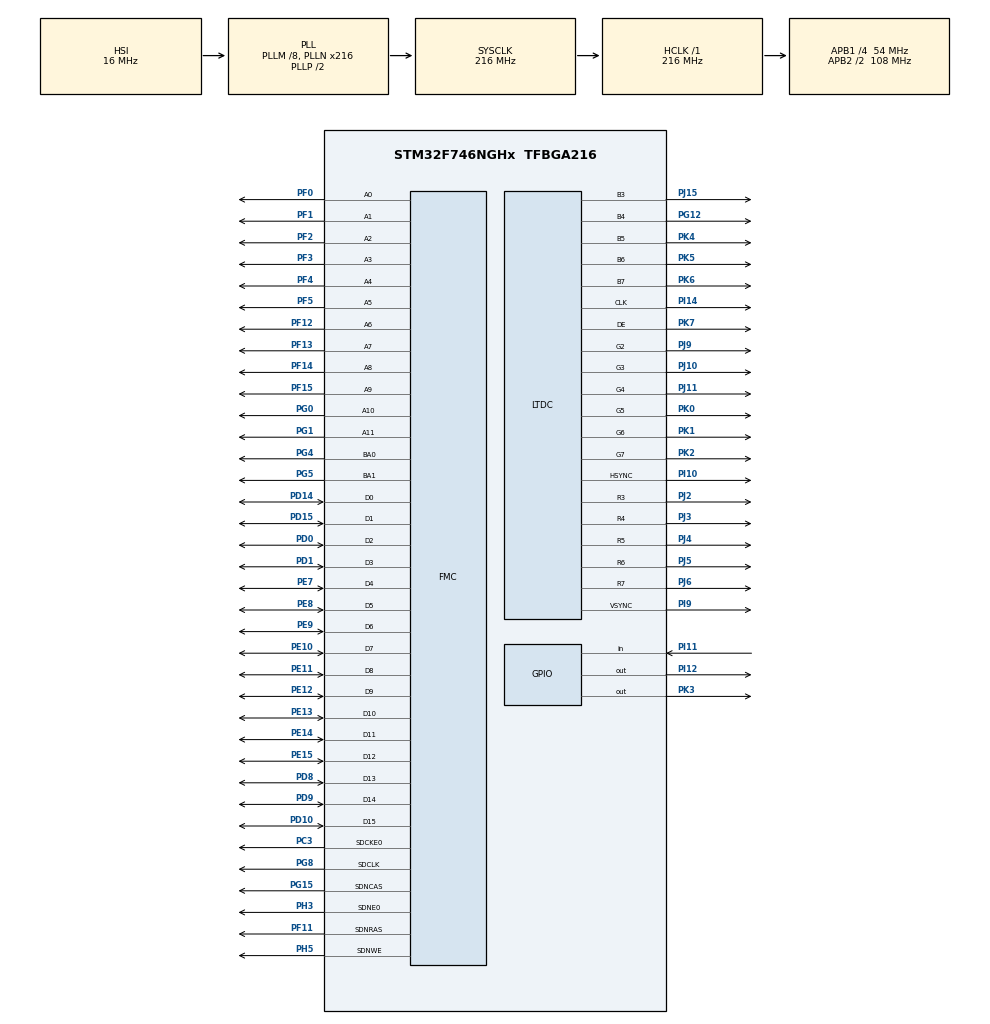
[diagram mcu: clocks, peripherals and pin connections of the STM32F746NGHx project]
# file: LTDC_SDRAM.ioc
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FMC.CASLatency1=FMC_SDRAM_CAS_LATENCY_3
FMC.ExitSelfRefreshDelay1=8
FMC.LoadToActiveDelay1=2
FMC.RCDDelay1=2
FMC.RPDelay1=2
FMC.ReadBurst1=FMC_SDRAM_RBURST_ENABLE
FMC.RowCycleDelay1=7
FMC.SDClockPeriod1=FMC_SDRAM_CLOCK_PERIOD_2
FMC.SelfRefreshTime1=5
FMC.WriteRecoveryTime1=3
LTDC.ActiveH=272
LTDC.ActiveW=480
LTDC.Alpha_L0=255
LTDC.HBP=13
LTDC.HFP=32
LTDC.HSync=41
LTDC.ImageHeight_L0=272
LTDC.ImageWidth_L0=480
LTDC.Layers=0
LTDC.PixelFormat_L0=LTDC_PIXEL_FORMAT_RGB565
LTDC.VSync=10
LTDC.WindowX1_L0=480
LTDC.WindowY1_L0=272
Mcu.Family=STM32F7
Mcu.Name=STM32F746NGHx
Mcu.Package=TFBGA216
NVIC.PriorityGroup=NVIC_PRIORITYGROUP_4
PA13.Mode=Serial_Wire
PA13.Signal=SYS_JTMS-SWDIO
PA14.Mode=Serial_Wire
PA14.Signal=SYS_JTCK-SWCLK
PC3.Mode=SdramChipSelect1_1
PC3.Signal=FMC_SDCKE0
PD0.Signal=FMC_D2_DA2
PD1.Signal=FMC_D3_DA3
PD10.Signal=FMC_D15_DA15
PD14.Signal=FMC_D0_DA0
PD15.Signal=FMC_D1_DA1
PD8.Signal=FMC_D13_DA13
PD9.Signal=FMC_D14_DA14
PE10.Signal=FMC_D7_DA7
PE11.Signal=FMC_D8_DA8
PE12.Signal=FMC_D9_DA9
PE13.Signal=FMC_D10_DA10
PE14.Signal=FMC_D11_DA11
PE15.Signal=FMC_D12_DA12
PE7.Signal=FMC_D4_DA4
PE8.Signal=FMC_D5_DA5
PE9.Signal=FMC_D6_DA6
PF0.Signal=FMC_A0
PF1.Signal=FMC_A1
PF11.Signal=FMC_SDNRAS
PF12.Signal=FMC_A6
PF13.Signal=FMC_A7
PF14.Signal=FMC_A8
PF15.Signal=FMC_A9
PF2.Signal=FMC_A2
PF3.Signal=FMC_A3
PF4.Signal=FMC_A4
PF5.Signal=FMC_A5
PG0.Signal=FMC_A10
PG1.Signal=FMC_A11
PG12.Mode=RGB565
PG12.Signal=LTDC_B4
PG15.Signal=FMC_SDNCAS
PG4.Signal=FMC_A14_BA0
PG5.Signal=FMC_A15_BA1
PG8.Signal=FMC_SDCLK
PH0/OSC_IN.Mode=HSE-External-Oscillator
PH0/OSC_IN.Signal=RCC_OSC_IN
PH1/OSC_OUT.Mode=HSE-External-Oscillator
PH1/OSC_OUT.Signal=RCC_OSC_OUT
PH3.Mode=SdramChipSelect1_1
PH3.Signal=FMC_SDNE0
PH5.Signal=FMC_SDNWE
PI10.Mode=RGB565
PI10.Signal=LTDC_HSYNC
PI11.GPIO_PuPd=GPIO_NOPULL
PI11.Signal=GPIO_Input
PI12.Signal=GPIO_Output
PI14.Mode=RGB565
PI14.Signal=LTDC_CLK
PI9.Mode=RGB565
PI9.Signal=LTDC_VSYNC
PJ10.Mode=RGB565
PJ10.Signal=LTDC_G3
PJ11.Mode=RGB565
PJ11.Signal=LTDC_G4
PJ15.Mode=RGB565
PJ15.Signal=LTDC_B3
PJ2.Mode=RGB565
PJ2.Signal=LTDC_R3
PJ3.Mode=RGB565
PJ3.Signal=LTDC_R4
PJ4.Mode=RGB565
PJ4.Signal=LTDC_R5
PJ5.Mode=RGB565
PJ5.Signal=LTDC_R6
PJ6.Mode=RGB565
PJ6.Signal=LTDC_R7
PJ9.Mode=RGB565
PJ9.Signal=LTDC_G2
PK0.Mode=RGB565
PK0.Signal=LTDC_G5
PK1.Mode=RGB565
PK1.Signal=LTDC_G6
PK2.Mode=RGB565
PK2.Signal=LTDC_G7
PK3.Signal=GPIO_Output
PK4.Mode=RGB565
PK4.Signal=LTDC_B5
PK5.Mode=RGB565
PK5.Signal=LTDC_B6
PK6.Mode=RGB565
PK6.Signal=LTDC_B7
PK7.Mode=RGB565
PK7.Signal=LTDC_DE
ProjectManager.HeapSize=0x200
ProjectManager.StackSize=0x400
ProjectManager.TargetToolchain=TrueSTUDIO
RCC.AHBFreq_Value=216000000
RCC.APB1CLKDivider=RCC_HCLK_DIV4
RCC.APB1Freq_Value=54000000
RCC.APB1TimFreq_Value=108000000
RCC.APB2CLKDivider=RCC_HCLK_DIV2
RCC.APB2Freq_Value=108000000
RCC.APB2TimFreq_Value=216000000
RCC.CortexFreq_Value=216000000
RCC.HCLKFreq_Value=216000000
RCC.HSE_VALUE=25000000
RCC.HSI_VALUE=16000000
RCC.LSE_VALUE=32768
RCC.PLLM=8
RCC.PLLN=216
RCC.PLLSAIN=96
RCC.PLLSAIR=5
RCC.PLLSAIRDiv=RCC_PLLSAIDIVR_4
RCC.SYSCLKFreq_VALUE=216000000
RCC.SYSCLKSource=RCC_SYSCLKSOURCE_PLLCLK
RCC.USBFreq_Value=216000000
RCC.VCOOutputFreq_Value=432000000
SH.FMC_A0.0=FMC_A0,12b-sda1
SH.FMC_A1.0=FMC_A1,12b-sda1
SH.FMC_A10.0=FMC_A10,12b-sda1
SH.FMC_A11.0=FMC_A11,12b-sda1
SH.FMC_A14_BA0.0=FMC_BA0,FourSdramBanks1
SH.FMC_A15_BA1.0=FMC_BA1,FourSdramBanks1
SH.FMC_A2.0=FMC_A2,12b-sda1
SH.FMC_A3.0=FMC_A3,12b-sda1
SH.FMC_A4.0=FMC_A4,12b-sda1
SH.FMC_A5.0=FMC_A5,12b-sda1
SH.FMC_A6.0=FMC_A6,12b-sda1
SH.FMC_A7.0=FMC_A7,12b-sda1
SH.FMC_A8.0=FMC_A8,12b-sda1
SH.FMC_A9.0=FMC_A9,12b-sda1
SH.FMC_D0_DA0.0=FMC_D0,sd-16b-d1
SH.FMC_D10_DA10.0=FMC_D10,sd-16b-d1
SH.FMC_D11_DA11.0=FMC_D11,sd-16b-d1
SH.FMC_D12_DA12.0=FMC_D12,sd-16b-d1
SH.FMC_D13_DA13.0=FMC_D13,sd-16b-d1
SH.FMC_D14_DA14.0=FMC_D14,sd-16b-d1
SH.FMC_D15_DA15.0=FMC_D15,sd-16b-d1
SH.FMC_D1_DA1.0=FMC_D1,sd-16b-d1
SH.FMC_D2_DA2.0=FMC_D2,sd-16b-d1
SH.FMC_D3_DA3.0=FMC_D3,sd-16b-d1
SH.FMC_D4_DA4.0=FMC_D4,sd-16b-d1
SH.FMC_D5_DA5.0=FMC_D5,sd-16b-d1
SH.FMC_D6_DA6.0=FMC_D6,sd-16b-d1
SH.FMC_D7_DA7.0=FMC_D7,sd-16b-d1
SH.FMC_D8_DA8.0=FMC_D8,sd-16b-d1
SH.FMC_D9_DA9.0=FMC_D9,sd-16b-d1
SH.FMC_SDCLK.0=FMC_SDCLK,12b-sda1
SH.FMC_SDNCAS.0=FMC_SDNCAS,12b-sda1
SH.FMC_SDNRAS.0=FMC_SDNRAS,12b-sda1
SH.FMC_SDNWE.0=FMC_SDNWE,12b-sda1
board=custom

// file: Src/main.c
/* USER CODE BEGIN Header */
/**
  ******************************************************************************
  * @file           : main.c
  * @brief          : Main program body
  ******************************************************************************
  * @attention
  *
  * <h2><center>&copy; Copyright (c) 2020 STMicroelectronics.
  * All rights reserved.</center></h2>
  *
  * This software component is licensed by ST under BSD 3-Clause license,
  * the "License"; You may not use this file except in compliance with the
  * License. You may obtain a copy of the License at:
  *                        opensource.org/licenses/BSD-3-Clause
  *
  ******************************************************************************
  */
/* USER CODE END Header */

#include "main.h"

/* USER CODE BEGIN Includes */
#include "stm32f7xx_hal.h"
#include "SolImage.h"

/* USER CODE END Includes */

LTDC_HandleTypeDef hltdc;

SDRAM_HandleTypeDef hsdram1;

void SystemClock_Config(void);
static void MX_GPIO_Init(void);
static void MX_FMC_Init(void);
static void MX_LTDC_Init(void);
/* USER CODE BEGIN PFP */

#define LCD_Width 480
#define LCD_Height 272
#define LCD_Pixel 130560

#define BlackColor 	0x0000
#define RedColor 	0xF800
#define BlueColor 	0x001F
#define GreenColor 	0x07E0

FMC_SDRAM_CommandTypeDef command;
uint16_t * framebuffer = (uint16_t*) 0xC0000000;

uint8_t prev_status;
uint8_t status;

/* USER CODE END PFP */

/* USER CODE BEGIN 0 */

static void SDRAM_Initialization_Sequence(SDRAM_HandleTypeDef *hsdram, FMC_SDRAM_CommandTypeDef *Command)
{
       __IO uint32_t tmpmrd = 0;

       /* Step 3:  Configure a clock configuration enable command */
       Command->CommandMode = FMC_SDRAM_CMD_CLK_ENABLE;
       Command->CommandTarget = FMC_SDRAM_CMD_TARGET_BANK1;
       Command->AutoRefreshNumber = 1;
       Command->ModeRegisterDefinition = 0;

       /* Send the command */
       HAL_SDRAM_SendCommand(hsdram, Command, 0xFFFF);

       /* Step 4: Insert 100 us minimum delay */
       /* Inserted delay is equal to 1 ms due to systick time base unit (ms) */
       HAL_Delay(1);

       /* Step 5: Configure a PALL (precharge all) command */
       Command->CommandMode = FMC_SDRAM_CMD_PALL;
       Command->CommandTarget = FMC_SDRAM_CMD_TARGET_BANK1;
       Command->AutoRefreshNumber = 1;
       Command->ModeRegisterDefinition = 0;

       /* Send the command */
       HAL_SDRAM_SendCommand(hsdram, Command, 0xFFFF);

       /* Step 6 : Configure a Auto-Refresh command */
       Command->CommandMode = FMC_SDRAM_CMD_AUTOREFRESH_MODE;
       Command->CommandTarget = FMC_SDRAM_CMD_TARGET_BANK1;
       Command->AutoRefreshNumber = 8;
       Command->ModeRegisterDefinition = 0;

       /* Send the command */
       HAL_SDRAM_SendCommand(hsdram, Command, 0xFFFF);

       /* Step 7: Program the external memory mode register */
       // Write burst: single location access
       // Standard operation, CAS latency: 3, Sequential
       // Burst length: 1
       tmpmrd = (uint32_t) 0x00000230;

       Command->CommandMode = FMC_SDRAM_CMD_LOAD_MODE;
       Command->CommandTarget = FMC_SDRAM_CMD_TARGET_BANK1;
       Command->AutoRefreshNumber = 1;
       Command->ModeRegisterDefinition = tmpmrd;
       /* Send the command */
       HAL_SDRAM_SendCommand(hsdram, Command, 0xFFFF);

       /* Step 8: Set the refresh rate counter */
       // refresh rate = refresh period / number of rows
       // refresh rate = 64ms / 4096 = 15.62us
       // refresh count = (refresh rate x SDRAM clock frequency) - 20
       // refresh count = 15.62us x 108MHz - 20 = 1666
       hsdram->Instance->SDRTR |= (uint32_t) 1666;
}

void ReadButton(uint8_t input)
{
	prev_status = status = input;
	if(prev_status == status)
	{
		return 0;
	}else if(prev_status != status)
	{
		prev_status = status;
		return 1;
	}
}

/* USER CODE END 0 */

int main(void)
{
  /* USER CODE BEGIN 1 */

	uint16_t i, j;
	uint8_t index=0;

  /* USER CODE END 1 */

  /* MCU Configuration--------------------------------------------------------*/

  /* Reset of all peripherals, Initializes the Flash interface and the Systick. */
  HAL_Init();

  /* Configure the system clock */
  SystemClock_Config();

  /* Initialize all configured peripherals */
  MX_GPIO_Init();
  MX_FMC_Init();
  MX_LTDC_Init();
  /* USER CODE BEGIN 2 */

  SDRAM_Initialization_Sequence(&hsdram1, &command);

  for(i=0;i<136;i++){
	  for(j=0;j<480;j++){
		  *(framebuffer+j+480*i) = RedColor;
	  }
  }
  for(i=136;i<272;i++){
  	  for(j=0;j<480;j++){
  		  *(framebuffer+j+480*i) = BlueColor;
  	  }
    }

  HAL_GPIO_WritePin(GPIOK, GPIO_PIN_3, GPIO_PIN_SET);
  HAL_GPIO_WritePin(GPIOI, GPIO_PIN_12, GPIO_PIN_SET);

  HAL_LTDC_SetAddress(&hltdc, 0xC0000000, 0);

  /* USER CODE END 2 */

  /* Infinite loop */
  /* USER CODE BEGIN WHILE */
  while (1)
  {
	  HAL_Delay(500);

	  if(HAL_GPIO_ReadPin(GPIOI, GPIO_PIN_11) == 1)
	  {
		  index++;
		  index%=2;
		  //HAL_GPIO_TogglePin(GPIOK, GPIO_PIN_3);
	  }

	  if(index == 0)
	  {
		  HAL_LTDC_SetAddress(&hltdc, 0xC0000000, 0);
	  }else if(index == 1)
	  {
		  HAL_LTDC_SetAddress(&hltdc, SolImage, 0);
	  }

    /* USER CODE END WHILE */

  }
}

void SystemClock_Config(void)
{
  RCC_OscInitTypeDef RCC_OscInitStruct = {0};
  RCC_ClkInitTypeDef RCC_ClkInitStruct = {0};
  RCC_PeriphCLKInitTypeDef PeriphClkInitStruct = {0};

  /** Configure the main internal regulator output voltage
  */
  __HAL_RCC_PWR_CLK_ENABLE();
  __HAL_PWR_VOLTAGESCALING_CONFIG(PWR_REGULATOR_VOLTAGE_SCALE1);
  /** Initializes the CPU, AHB and APB busses clocks
  */
  RCC_OscInitStruct.OscillatorType = RCC_OSCILLATORTYPE_HSI;
  RCC_OscInitStruct.HSIState = RCC_HSI_ON;
  RCC_OscInitStruct.HSICalibrationValue = RCC_HSICALIBRATION_DEFAULT;
  RCC_OscInitStruct.PLL.PLLState = RCC_PLL_ON;
  RCC_OscInitStruct.PLL.PLLSource = RCC_PLLSOURCE_HSI;
  RCC_OscInitStruct.PLL.PLLM = 8;
  RCC_OscInitStruct.PLL.PLLN = 216;
  RCC_OscInitStruct.PLL.PLLP = RCC_PLLP_DIV2;
  RCC_OscInitStruct.PLL.PLLQ = 2;
  if (HAL_RCC_OscConfig(&RCC_OscInitStruct) != HAL_OK)
  {
    Error_Handler();
  }
  /** Activate the Over-Drive mode
  */
  if (HAL_PWREx_EnableOverDrive() != HAL_OK)
  {
    Error_Handler();
  }
  /** Initializes the CPU, AHB and APB busses clocks
  */
  RCC_ClkInitStruct.ClockType = RCC_CLOCKTYPE_HCLK|RCC_CLOCKTYPE_SYSCLK
                              |RCC_CLOCKTYPE_PCLK1|RCC_CLOCKTYPE_PCLK2;
  RCC_ClkInitStruct.SYSCLKSource = RCC_SYSCLKSOURCE_PLLCLK;
  RCC_ClkInitStruct.AHBCLKDivider = RCC_SYSCLK_DIV1;
  RCC_ClkInitStruct.APB1CLKDivider = RCC_HCLK_DIV4;
  RCC_ClkInitStruct.APB2CLKDivider = RCC_HCLK_DIV2;

  if (HAL_RCC_ClockConfig(&RCC_ClkInitStruct, FLASH_LATENCY_7) != HAL_OK)
  {
    Error_Handler();
  }
  PeriphClkInitStruct.PeriphClockSelection = RCC_PERIPHCLK_LTDC;
  PeriphClkInitStruct.PLLSAI.PLLSAIN = 96;
  PeriphClkInitStruct.PLLSAI.PLLSAIR = 5;
  PeriphClkInitStruct.PLLSAI.PLLSAIQ = 2;
  PeriphClkInitStruct.PLLSAI.PLLSAIP = RCC_PLLSAIP_DIV2;
  PeriphClkInitStruct.PLLSAIDivQ = 1;
  PeriphClkInitStruct.PLLSAIDivR = RCC_PLLSAIDIVR_4;
  if (HAL_RCCEx_PeriphCLKConfig(&PeriphClkInitStruct) != HAL_OK)
  {
    Error_Handler();
  }
}

static void MX_LTDC_Init(void)
{

  LTDC_LayerCfgTypeDef pLayerCfg = {0};

  hltdc.Instance = LTDC;
  hltdc.Init.HSPolarity = LTDC_HSPOLARITY_AL;
  hltdc.Init.VSPolarity = LTDC_VSPOLARITY_AL;
  hltdc.Init.DEPolarity = LTDC_DEPOLARITY_AL;
  hltdc.Init.PCPolarity = LTDC_PCPOLARITY_IPC;
  hltdc.Init.HorizontalSync = 40;
  hltdc.Init.VerticalSync = 9;
  hltdc.Init.AccumulatedHBP = 53;
  hltdc.Init.AccumulatedVBP = 11;
  hltdc.Init.AccumulatedActiveW = 533;
  hltdc.Init.AccumulatedActiveH = 283;
  hltdc.Init.TotalWidth = 565;
  hltdc.Init.TotalHeigh = 285;
  hltdc.Init.Backcolor.Blue = 0;
  hltdc.Init.Backcolor.Green = 0;
  hltdc.Init.Backcolor.Red = 0;
  if (HAL_LTDC_Init(&hltdc) != HAL_OK)
  {
    Error_Handler();
  }
  pLayerCfg.WindowX0 = 0;
  pLayerCfg.WindowX1 = 480;
  pLayerCfg.WindowY0 = 0;
  pLayerCfg.WindowY1 = 272;
  pLayerCfg.PixelFormat = LTDC_PIXEL_FORMAT_RGB565;
  pLayerCfg.Alpha = 255;
  pLayerCfg.Alpha0 = 0;
  pLayerCfg.BlendingFactor1 = LTDC_BLENDING_FACTOR1_CA;
  pLayerCfg.BlendingFactor2 = LTDC_BLENDING_FACTOR2_CA;
  pLayerCfg.FBStartAdress = 0;
  pLayerCfg.ImageWidth = 480;
  pLayerCfg.ImageHeight = 272;
  pLayerCfg.Backcolor.Blue = 0;
  pLayerCfg.Backcolor.Green = 0;
  pLayerCfg.Backcolor.Red = 0;
  if (HAL_LTDC_ConfigLayer(&hltdc, &pLayerCfg, 0) != HAL_OK)
  {
    Error_Handler();
  }

}

/* FMC initialization function */
static void MX_FMC_Init(void)
{

  FMC_SDRAM_TimingTypeDef SdramTiming = {0};

  /** Perform the SDRAM1 memory initialization sequence
  */
  hsdram1.Instance = FMC_SDRAM_DEVICE;
  /* hsdram1.Init */
  hsdram1.Init.SDBank = FMC_SDRAM_BANK1;
  hsdram1.Init.ColumnBitsNumber = FMC_SDRAM_COLUMN_BITS_NUM_8;
  hsdram1.Init.RowBitsNumber = FMC_SDRAM_ROW_BITS_NUM_12;
  hsdram1.Init.MemoryDataWidth = FMC_SDRAM_MEM_BUS_WIDTH_16;
  hsdram1.Init.InternalBankNumber = FMC_SDRAM_INTERN_BANKS_NUM_4;
  hsdram1.Init.CASLatency = FMC_SDRAM_CAS_LATENCY_3;
  hsdram1.Init.WriteProtection = FMC_SDRAM_WRITE_PROTECTION_DISABLE;
  hsdram1.Init.SDClockPeriod = FMC_SDRAM_CLOCK_PERIOD_2;
  hsdram1.Init.ReadBurst = FMC_SDRAM_RBURST_ENABLE;
  hsdram1.Init.ReadPipeDelay = FMC_SDRAM_RPIPE_DELAY_0;
  /* SdramTiming */
  SdramTiming.LoadToActiveDelay = 2;
  SdramTiming.ExitSelfRefreshDelay = 8;
  SdramTiming.SelfRefreshTime = 5;
  SdramTiming.RowCycleDelay = 7;
  SdramTiming.WriteRecoveryTime = 3;
  SdramTiming.RPDelay = 2;
  SdramTiming.RCDDelay = 2;

  if (HAL_SDRAM_Init(&hsdram1, &SdramTiming) != HAL_OK)
  {
    Error_Handler( );
  }

}

static void MX_GPIO_Init(void)
{
  GPIO_InitTypeDef GPIO_InitStruct = {0};

  /* GPIO Ports Clock Enable */
  __HAL_RCC_GPIOA_CLK_ENABLE();
  __HAL_RCC_GPIOG_CLK_ENABLE();
  __HAL_RCC_GPIOD_CLK_ENABLE();
  __HAL_RCC_GPIOK_CLK_ENABLE();
  __HAL_RCC_GPIOF_CLK_ENABLE();
  __HAL_RCC_GPIOI_CLK_ENABLE();
  __HAL_RCC_GPIOJ_CLK_ENABLE();
  __HAL_RCC_GPIOH_CLK_ENABLE();
  __HAL_RCC_GPIOC_CLK_ENABLE();
  __HAL_RCC_GPIOE_CLK_ENABLE();

  /*Configure GPIO pin Output Level */
  HAL_GPIO_WritePin(GPIOK, GPIO_PIN_3, GPIO_PIN_RESET);

  /*Configure GPIO pin Output Level */
  HAL_GPIO_WritePin(GPIOI, GPIO_PIN_12, GPIO_PIN_RESET);

  /*Configure GPIO pin : PK3 */
  GPIO_InitStruct.Pin = GPIO_PIN_3;
  GPIO_InitStruct.Mode = GPIO_MODE_OUTPUT_PP;
  GPIO_InitStruct.Pull = GPIO_NOPULL;
  GPIO_InitStruct.Speed = GPIO_SPEED_FREQ_LOW;
  HAL_GPIO_Init(GPIOK, &GPIO_InitStruct);

  /*Configure GPIO pin : PI12 */
  GPIO_InitStruct.Pin = GPIO_PIN_12;
  GPIO_InitStruct.Mode = GPIO_MODE_OUTPUT_PP;
  GPIO_InitStruct.Pull = GPIO_NOPULL;
  GPIO_InitStruct.Speed = GPIO_SPEED_FREQ_LOW;
  HAL_GPIO_Init(GPIOI, &GPIO_InitStruct);

  /*Configure GPIO pin : PI11 */
  GPIO_InitStruct.Pin = GPIO_PIN_11;
  GPIO_InitStruct.Mode = GPIO_MODE_INPUT;
  GPIO_InitStruct.Pull = GPIO_NOPULL;
  HAL_GPIO_Init(GPIOI, &GPIO_InitStruct);

}

void Error_Handler(void)
{
}

/************************ (C) COPYRIGHT STMicroelectronics *****END OF FILE****/
